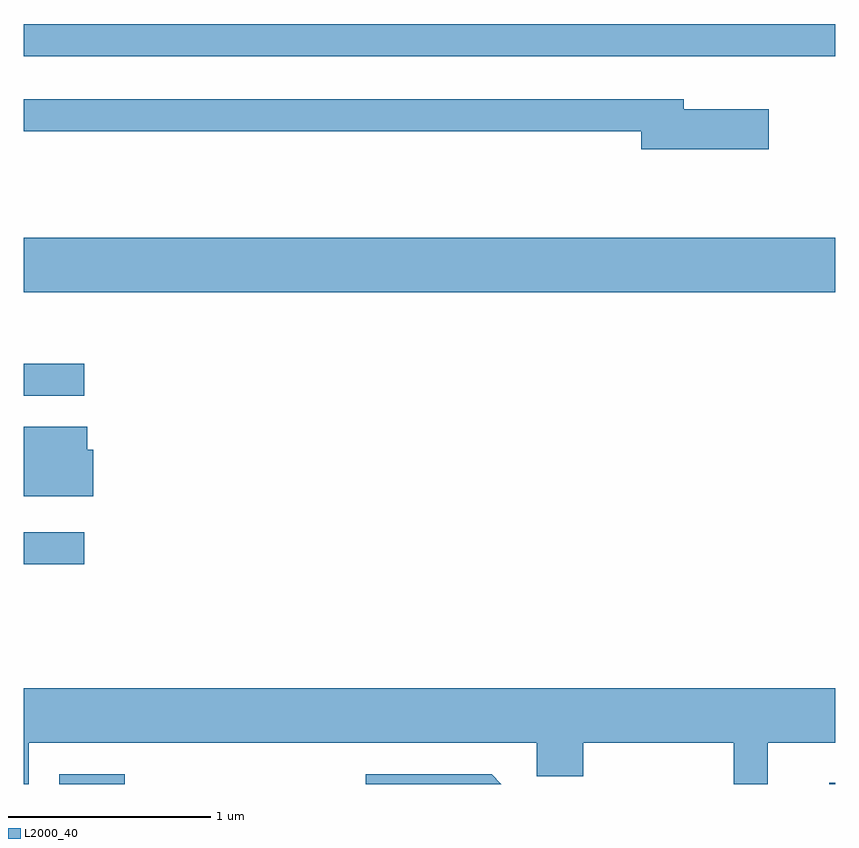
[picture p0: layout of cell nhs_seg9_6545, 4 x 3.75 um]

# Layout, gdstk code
import gdstk
lib = gdstk.Library(unit=1e-6, precision=1e-09)
def R(c, l, rs):  # rectangles x0, y0, x1, y1
    for r in rs: c.add(gdstk.rectangle(r[:2], r[2:], *l))
def P(c, l, *ps):  # polygons
    for p in ps: c.add(gdstk.Polygon(p, *l))
L2000_40 = (2000, 40)

nhs_seg9_6545 = lib.new_cell('nhs_seg9_6545')
R(nhs_seg9_6545, L2000_40, [(377.786,2060.432,378.108,2060.479), (381.581,2060.432,381.611,2060.439), (377.611,2061.516,377.908,2061.674), (377.611,2062.346,377.908,2062.504), (377.611,2062.856,381.611,2063.124), (377.611,2064.021,381.611,2064.179)])
P(nhs_seg9_6545, L2000_40, [(381.284,2063.759),(380.864,2063.759),(380.864,2063.809),(377.611,2063.809),(377.611,2063.651),(380.656,2063.651),(380.656,2063.561),(381.284,2063.561)],
  [(377.954,2062.079),(377.924,2062.079),(377.924,2062.194),(377.611,2062.194),(377.611,2061.851),(377.954,2061.851)],
  [(377.634,2060.636),(380.141,2060.636),(380.141,2060.471),(380.369,2060.471),(380.369,2060.636),(381.111,2060.636),(381.111,2060.432),(381.279,2060.432),(381.279,2060.636),(381.611,2060.636),(381.611,2060.904),(377.611,2060.904),(377.611,2060.432),(377.634,2060.432)],
  [(379.917,2060.479),(379.296,2060.479),(379.296,2060.432),(379.964,2060.432)])

lib.write_gds('nhs_seg9_6545.gds')
